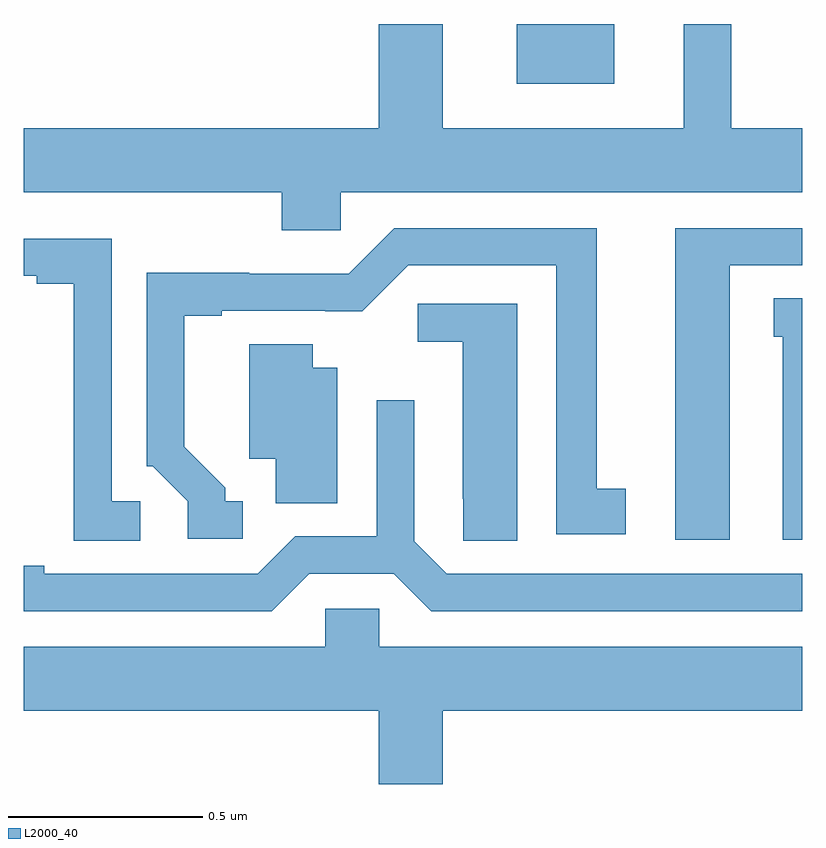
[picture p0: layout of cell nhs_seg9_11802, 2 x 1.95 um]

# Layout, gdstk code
import gdstk
lib = gdstk.Library(unit=1e-6, precision=1e-09)
def R(c, l, rs):  # rectangles x0, y0, x1, y1
    for r in rs: c.add(gdstk.rectangle(r[:2], r[2:], *l))
def P(c, l, *ps):  # polygons
    for p in ps: c.add(gdstk.Polygon(p, *l))
L2000_40 = (2000, 40)

nhs_seg9_11802 = lib.new_cell('nhs_seg9_11802')
R(nhs_seg9_11802, L2000_40, [(261.266,1215.347,261.517,1215.5)])
P(nhs_seg9_11802, L2000_40, [(260.814,1215.068),(262,1215.068),(262,1215.232),(261.817,1215.232),(261.817,1215.5),(261.695,1215.5),(261.695,1215.232),(261.076,1215.232),(261.076,1215.5),(260.912,1215.5),(260.912,1215.232),(260,1215.232),(260,1215.068),(260.663,1215.068),(260.663,1214.97),(260.814,1214.97)],
  [(261.814,1214.88),(262,1214.88),(262,1214.976),(261.674,1214.976),(261.674,1214.175),(261.814,1214.175)],
  [(260.563,1214.274),(260.518,1214.274),(260.518,1214.309),(260.413,1214.414),(260.413,1214.751),(260.509,1214.751),(260.509,1214.763),(260.774,1214.763),(260.774,1214.762),(260.87,1214.762),(260.988,1214.88),(261.368,1214.88),(261.368,1214.19),(261.547,1214.19),(261.547,1214.306),(261.472,1214.306),(261.472,1214.976),(260.952,1214.976),(260.835,1214.859),(260.579,1214.859),(260.579,1214.861),(260.316,1214.861),(260.316,1214.364),(260.331,1214.364),(260.421,1214.274),(260.421,1214.178),(260.563,1214.178)],
  [(260.299,1214.274),(260.226,1214.274),(260.226,1214.949),(260,1214.949),(260,1214.853),(260.033,1214.853),(260.033,1214.833),(260.129,1214.833),(260.129,1214.173),(260.299,1214.173)],
  [(262,1214.795),(261.926,1214.795),(261.926,1214.697),(261.95,1214.697),(261.95,1214.175),(262,1214.175)],
  [(261.268,1214.781),(261.012,1214.781),(261.012,1214.684),(261.128,1214.684),(261.128,1214.281),(261.129,1214.281),(261.129,1214.173),(261.268,1214.173)],
  [(260.806,1214.617),(260.743,1214.617),(260.743,1214.678),(260.579,1214.678),(260.579,1214.384),(260.648,1214.384),(260.648,1214.269),(260.806,1214.269)],
  [(260.733,1214.088),(260.951,1214.088),(261.047,1213.992),(262,1213.992),(262,1214.088),(261.087,1214.088),(261.003,1214.172),(261.003,1214.533),(260.907,1214.533),(260.907,1214.184),(260.697,1214.184),(260.601,1214.088),(260.053,1214.088),(260.053,1214.108),(260,1214.108),(260,1213.992),(260.637,1213.992)],
  [(261.076,1213.736),(262,1213.736),(262,1213.9),(260.913,1213.9),(260.913,1213.998),(260.775,1213.998),(260.775,1213.9),(260,1213.9),(260,1213.736),(260.912,1213.736),(260.912,1213.548),(261.076,1213.548)])

lib.write_gds('nhs_seg9_11802.gds')
